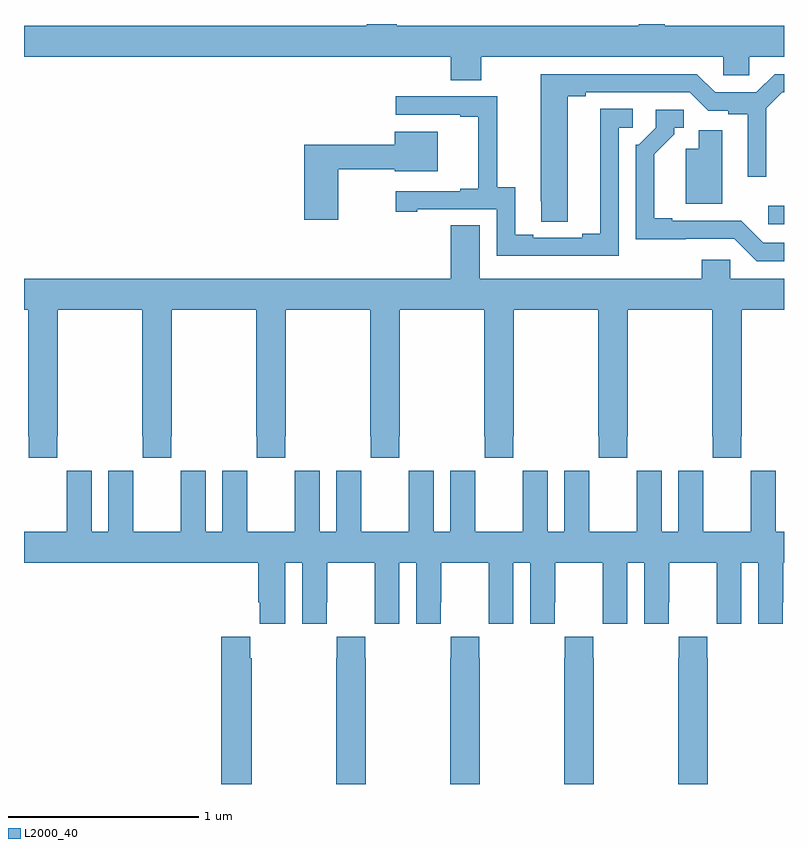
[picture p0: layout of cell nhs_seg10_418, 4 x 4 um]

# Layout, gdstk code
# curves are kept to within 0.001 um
import gdstk
lib = gdstk.Library(unit=1e-6, precision=1e-09)
def R(c, l, rs):  # rectangles x0, y0, x1, y1
    for r in rs: c.add(gdstk.rectangle(r[:2], r[2:], *l))
def P(c, l, *ps):  # polygons
    for p in ps: c.add(gdstk.Polygon(p, *l))
L2000_40 = (2000, 40)

nhs_seg10_418 = lib.new_cell('nhs_seg10_418')
R(nhs_seg10_418, L2000_40, [(134.916,1287.447,135,1287.544)])
P(nhs_seg10_418, L2000_40, [(133.407,1288.328),(134.679,1288.328),(134.679,1288.23),(134.817,1288.23),(134.817,1288.328),(135,1288.328),(135,1288.492),(134.373,1288.492),(134.373,1288.5),(134.235,1288.5),(134.235,1288.492),(132.963,1288.492),(132.963,1288.5),(132.803,1288.5),(132.803,1288.492),(131,1288.492),(131,1288.328),(133.247,1288.328),(133.247,1288.204),(133.407,1288.204)],
  [(133.861,1288.12),(133.957,1288.12),(133.957,1288.14),(134.505,1288.14),(134.601,1288.044),(134.706,1288.044),(134.706,1288.024),(134.81,1288.024),(134.81,1287.696),(134.907,1287.696),(134.907,1288.056),(134.991,1288.14),(135,1288.14),(135,1288.236),(134.951,1288.236),(134.855,1288.14),(134.637,1288.14),(134.541,1288.236),(133.721,1288.236),(133.722,1287.46),(133.861,1287.46)],
  [(134.13,1287.954),(134.203,1287.954),(134.203,1288.055),(134.033,1288.055),(134.033,1287.395),(133.937,1287.395),(133.937,1287.375),(133.681,1287.375),(133.681,1287.39),(133.585,1287.39),(133.585,1287.641),(133.491,1287.641),(133.491,1288.119),(132.957,1288.119),(132.957,1288.023),(133.295,1288.023),(133.295,1288.011),(133.391,1288.011),(133.391,1287.634),(133.295,1287.634),(133.295,1287.621),(132.957,1287.621),(132.957,1287.513),(133.069,1287.513),(133.069,1287.525),(133.488,1287.525),(133.488,1287.279),(134.13,1287.279)],
  [(135,1287.348),(134.892,1287.348),(134.775,1287.465),(134.413,1287.465),(134.413,1287.478),(134.317,1287.478),(134.317,1287.814),(134.422,1287.919),(134.422,1287.954),(134.472,1287.954),(134.472,1288.05),(134.325,1288.05),(134.325,1287.954),(134.235,1287.864),(134.22,1287.864),(134.22,1287.368),(134.739,1287.369),(134.856,1287.252),(135,1287.252)],
  [(134.674,1287.942),(134.552,1287.942),(134.552,1287.844),(134.483,1287.844),(134.483,1287.554),(134.674,1287.554)],
  [(132.654,1287.736),(132.95,1287.736),(132.95,1287.725),(133.177,1287.725),(133.177,1287.934),(132.95,1287.934),(132.95,1287.865),(132.476,1287.865),(132.476,1287.471),(132.654,1287.471)],
  [(131.175,1286.329),(131.178,1286.329),(131.178,1286.996),(131.623,1286.996),(131.623,1286.329),(131.625,1286.329),(131.625,1286.217),(131.775,1286.217),(131.775,1286.329),(131.778,1286.329),(131.778,1286.996),(132.223,1286.996),(132.223,1286.329),(132.225,1286.329),(132.225,1286.217),(132.375,1286.217),(132.375,1286.329),(132.378,1286.329),(132.378,1286.996),(132.823,1286.996),(132.823,1286.329),(132.825,1286.329),(132.825,1286.217),(132.975,1286.217),(132.975,1286.329),(132.978,1286.329),(132.978,1286.996),(133.423,1286.996),(133.423,1286.329),(133.425,1286.329),(133.425,1286.217),(133.575,1286.217),(133.575,1286.329),(133.578,1286.329),(133.578,1286.996),(134.023,1286.996),(134.023,1286.329),(134.025,1286.329),(134.025,1286.217),(134.175,1286.217),(134.175,1286.329),(134.178,1286.329),(134.178,1286.996),(134.623,1286.996),(134.623,1286.329),(134.625,1286.329),(134.625,1286.217),(134.775,1286.217),(134.775,1286.329),(134.778,1286.329),(134.778,1286.996),(135,1286.996),(135,1287.16),(134.718,1287.16),(134.718,1287.258),(134.567,1287.258),(134.567,1287.16),(133.399,1287.16),(133.399,1287.44),(133.247,1287.44),(133.247,1287.16),(131,1287.16),(131,1286.996),(131.023,1286.996),(131.023,1286.329),(131.025,1286.329),(131.025,1286.217),(131.175,1286.217)],
  [(134.045,1285.456),(134.046,1285.456),(134.046,1285.344),(134.176,1285.344),(134.176,1285.664),(134.264,1285.664),(134.264,1285.344),(134.394,1285.344),(134.394,1285.456),(134.395,1285.456),(134.395,1285.664),(134.645,1285.664),(134.645,1285.456),(134.646,1285.456),(134.646,1285.344),(134.776,1285.344),(134.776,1285.664),(134.864,1285.664),(134.864,1285.344),(134.994,1285.344),(134.994,1285.456),(134.995,1285.456),(134.995,1285.664),(135,1285.664),(135,1285.828),(134.956,1285.828),(134.956,1286.149),(134.826,1286.149),(134.826,1286.036),(134.825,1286.036),(134.825,1285.828),(134.575,1285.828),(134.575,1286.036),(134.574,1286.036),(134.574,1286.149),(134.444,1286.149),(134.444,1285.828),(134.356,1285.828),(134.356,1286.149),(134.226,1286.149),(134.226,1286.036),(134.225,1286.036),(134.225,1285.828),(133.975,1285.828),(133.975,1286.036),(133.974,1286.036),(133.974,1286.149),(133.844,1286.149),(133.844,1285.828),(133.756,1285.828),(133.756,1286.149),(133.626,1286.149),(133.626,1286.036),(133.625,1286.036),(133.625,1285.828),(133.375,1285.828),(133.375,1286.036),(133.374,1286.036),(133.374,1286.149),(133.244,1286.149),(133.244,1285.828),(133.156,1285.828),(133.156,1286.149),(133.026,1286.149),(133.026,1286.036),(133.025,1286.036),(133.025,1285.828),(132.775,1285.828),(132.775,1286.036),(132.774,1286.036),(132.774,1286.149),(132.644,1286.149),(132.644,1285.828),(132.556,1285.828),(132.556,1286.149),(132.426,1286.149),(132.426,1286.036),(132.425,1286.036),(132.425,1285.828),(132.175,1285.828),(132.175,1286.036),(132.174,1286.036),(132.174,1286.149),(132.044,1286.149),(132.044,1285.828),(131.956,1285.828),(131.956,1286.149),(131.826,1286.149),(131.826,1286.036),(131.825,1286.036),(131.825,1285.828),(131.575,1285.828),(131.575,1286.036),(131.574,1286.036),(131.574,1286.149),(131.444,1286.149),(131.444,1285.828),(131.356,1285.828),(131.356,1286.149),(131.226,1286.149),(131.226,1286.036),(131.225,1286.036),(131.225,1285.828),(131,1285.828),(131,1285.664),(132.233,1285.664),(132.233,1285.456),(132.242,1285.456),(132.242,1285.344),(132.376,1285.344),(132.376,1285.664),(132.464,1285.664),(132.464,1285.344),(132.594,1285.344),(132.594,1285.456),(132.595,1285.456),(132.595,1285.664),(132.845,1285.664),(132.845,1285.456),(132.846,1285.456),(132.846,1285.344),(132.976,1285.344),(132.976,1285.664),(133.064,1285.664),(133.064,1285.344),(133.194,1285.344),(133.194,1285.456),(133.195,1285.456),(133.195,1285.664),(133.445,1285.664),(133.445,1285.456),(133.446,1285.456),(133.446,1285.344),(133.576,1285.344),(133.576,1285.664),(133.664,1285.664),(133.664,1285.344),(133.794,1285.344),(133.794,1285.456),(133.795,1285.456),(133.795,1285.664),(134.045,1285.664)],
  [(132.798,1285.163),(132.795,1285.163),(132.795,1285.276),(132.645,1285.276),(132.645,1285.163),(132.643,1285.163),(132.643,1284.5),(132.798,1284.5)],
  [(132.198,1285.163),(132.191,1285.163),(132.191,1285.276),(132.038,1285.276),(132.038,1284.5),(132.198,1284.5)],
  [(133.398,1285.163),(133.395,1285.163),(133.395,1285.276),(133.245,1285.276),(133.245,1285.163),(133.243,1285.163),(133.243,1284.5),(133.398,1284.5)],
  [(133.998,1285.163),(133.995,1285.163),(133.995,1285.276),(133.845,1285.276),(133.845,1285.163),(133.843,1285.163),(133.843,1284.5),(133.998,1284.5)],
  [(134.598,1285.163),(134.595,1285.163),(134.595,1285.276),(134.445,1285.276),(134.445,1285.163),(134.443,1285.163),(134.443,1284.5),(134.598,1284.5)])

lib.write_gds('nhs_seg10_418.gds')
